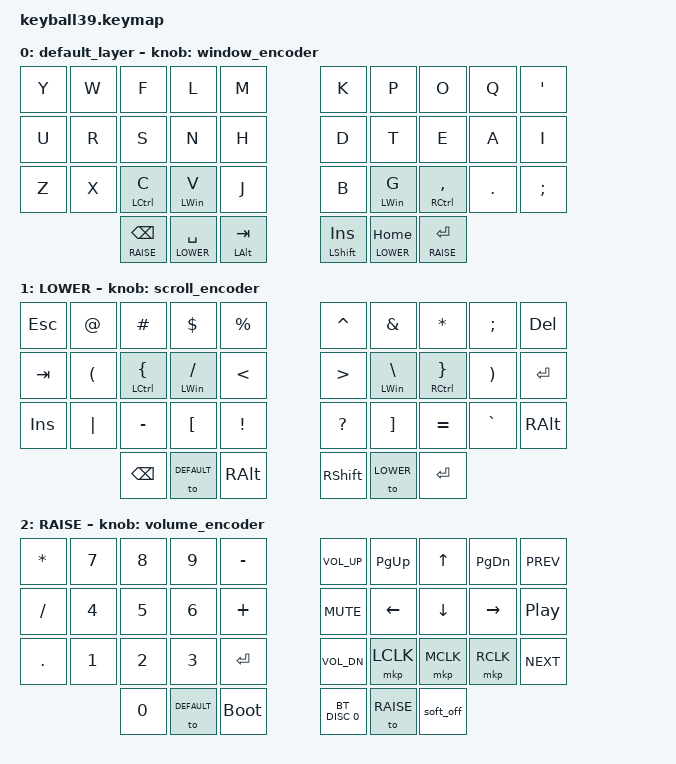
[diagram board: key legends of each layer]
#include <behaviors.dtsi>
#include <behaviors/mouse_keys.dtsi>
#include <dt-bindings/zmk/bt.h>
#include <dt-bindings/zmk/mouse.h>
#include <dt-bindings/zmk/keys.h>
#include <dt-bindings/zmk/outputs.h>

#define DEFAULT 0
#define LOWER   1
#define RAISE   2

// Handy to use these tap/holds

&mt {
    flavor = "balanced";
    tapping-term-ms = <800>;
};

&lt {
    flavor = "balanced";
    tapping-term-ms = <150>;
};

&msc {
    acceleration-exponent = <0>;
    time-to-max-speed-ms = <40>;
    delay-ms = <0>;
};

/ {
    behaviors {
        /* This is still in an open PR - https://github.com/zmkfirmware/zmk/pull/2027*/
        volume_encoder: volume_encoder {
            compatible = "zmk,behavior-sensor-rotate";
            #sensor-binding-cells = <0>;
            bindings = <&kp C_VOL_UP>, <&kp C_VOL_DN>;
        };
        window_encoder: window_encoder {
            compatible = "zmk,behavior-sensor-rotate";
            #sensor-binding-cells = <0>;
            bindings = <&kp RIGHT>, <&kp LEFT>;
        };
        scroll_encoder: scroll_encoder {
	        compatible = "zmk,behavior-sensor-rotate";
            #sensor-binding-cells = <0>;
            tap-ms = <100>;
            bindings = <&msc SCRL_UP>, <&msc SCRL_DOWN>;
        };
    };
    
    keymap {
        compatible = "zmk,keymap";

        default_layer {
            bindings = < 
&kp Y           &kp W           &kp F           &kp L           &kp M                           &kp K           &kp P           &kp O           &kp Q           &kp SINGLE_QUOTE
&kp U           &kp R           &kp S           &kp N           &kp H                           &kp D           &kp T           &kp E           &kp A           &kp I
&kp Z           &kp X           &mt LCTRL C     &mt LWIN V      &kp J                           &kp B           &mt LWIN G      &mt RCTRL COMMA &kp DOT         &kp SEMI
&lt RAISE BSPC                                  &lt LOWER SPACE &mt LALT TAB    &mt LSHFT INS   &lt LOWER HOME                                                  &lt RAISE RET
            >;
            sensor-bindings = <&window_encoder>;
        };

        LOWER {
            bindings = <
&kp ESC         &kp AT          &kp POUND       &kp DOLLAR      &kp PRCNT                       &kp CARET       &kp AMPS        &kp ASTRK       &kp SEMI        &kp DEL
&kp TAB         &kp LPAR        &mt LCTRL LBRC  &mt LWIN FSLH   &kp LT                          &kp GT          &mt LWIN BSLH   &mt RCTRL RBRC  &kp RPAR        &kp ENTER
&kp INS         &kp PIPE        &kp MINUS       &kp LBKT        &kp EXCL                        &kp QMARK       &kp RBKT        &kp EQUAL       &kp GRAVE       &kp RALT
&kp BSPC                                        &to DEFAULT     &kp RALT        &kp RSHFT       &to LOWER                                                       &kp RET
            >;
            sensor-bindings = <&scroll_encoder>;
        };

        RAISE {
            bindings = <
&kp ASTRK       &kp N7          &kp N8          &kp N9          &kp MINUS                       &kp C_VOL_UP    &kp PAGE_UP     &kp UP          &kp PAGE_DOWN   &kp C_PREV
&kp FSLH        &kp N4          &kp N5          &kp N6          &kp PLUS                        &kp C_MUTE      &kp LEFT        &kp DOWN        &kp RIGHT       &kp C_PP
&kp DOT         &kp N1          &kp N2          &kp N3          &kp ENTER                       &kp C_VOL_DN    &mkp LCLK       &mkp MCLK       &mkp RCLK       &kp C_NEXT
&kp N0                                          &to DEFAULT     &bootloader     &bt BT_DISC 0   &to RAISE                                                       &soft_off
            >;
            sensor-bindings = <&volume_encoder>;
        };
    };
};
